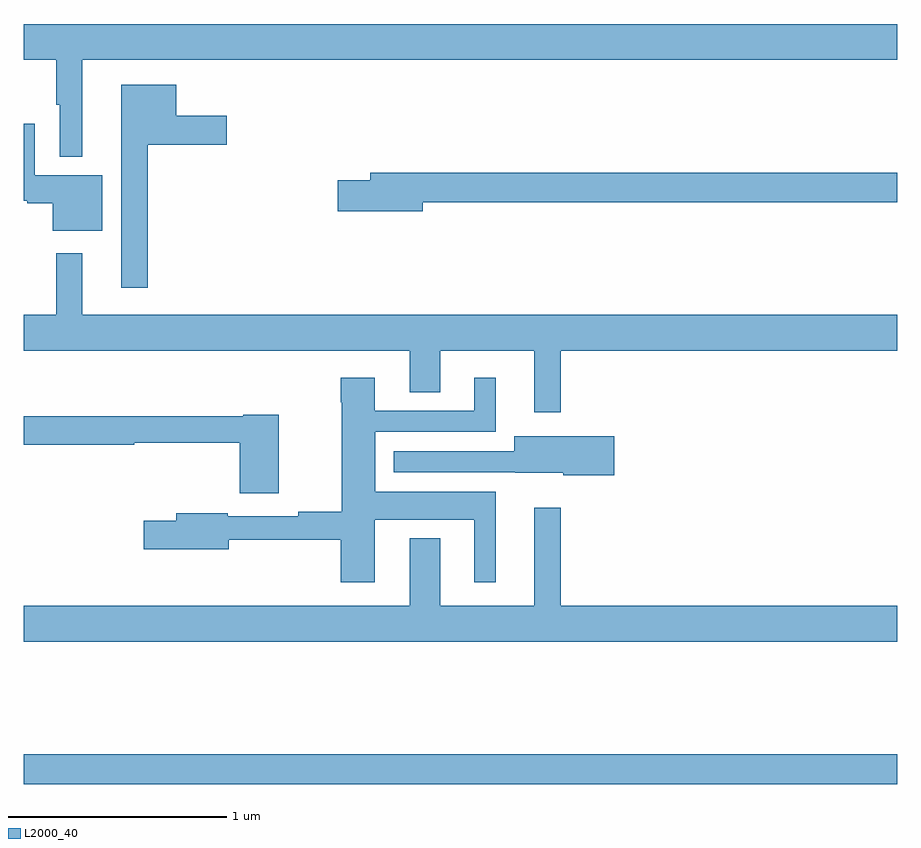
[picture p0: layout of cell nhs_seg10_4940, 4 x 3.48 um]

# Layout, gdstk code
import gdstk
lib = gdstk.Library(unit=1e-6, precision=1e-09)
def R(c, l, rs):  # rectangles x0, y0, x1, y1
    for r in rs: c.add(gdstk.rectangle(r[:2], r[2:], *l))
def P(c, l, *ps):  # polygons
    for p in ps: c.add(gdstk.Polygon(p, *l))
L2000_40 = (2000, 40)

nhs_seg10_4940 = lib.new_cell('nhs_seg10_4940')
R(nhs_seg10_4940, L2000_40, [(395,1320.976,399,1321.112)])
P(nhs_seg10_4940, L2000_40, [(395.269,1324.292),(399,1324.292),(399,1324.456),(395,1324.456),(395,1324.292),(395.148,1324.292),(395.148,1324.087),(395.165,1324.087),(395.165,1323.848),(395.269,1323.848)],
  [(395.569,1323.902),(395.929,1323.902),(395.929,1324.036),(395.698,1324.036),(395.698,1324.177),(395.447,1324.177),(395.447,1323.249),(395.569,1323.249)],
  [(395.359,1323.763),(395.05,1323.763),(395.05,1324),(395,1324),(395,1323.647),(395.016,1323.647),(395.016,1323.635),(395.132,1323.635),(395.132,1323.509),(395.359,1323.509)],
  [(396.826,1323.64),(399,1323.64),(399,1323.776),(396.587,1323.776),(396.587,1323.74),(396.438,1323.74),(396.438,1323.598),(396.826,1323.598)],
  [(397.459,1322.96),(399,1322.96),(399,1323.124),(395.269,1323.124),(395.269,1323.406),(395.148,1323.406),(395.148,1323.124),(395,1323.124),(395,1322.96),(396.767,1322.96),(396.767,1322.77),(396.907,1322.77),(396.907,1322.96),(397.337,1322.96),(397.337,1322.679),(397.459,1322.679)],
  [(396.607,1322.186),(397.064,1322.186),(397.064,1321.899),(397.162,1321.899),(397.162,1322.314),(396.61,1322.314),(396.61,1322.589),(397.162,1322.589),(397.162,1322.836),(397.064,1322.836),(397.064,1322.685),(396.607,1322.685),(396.607,1322.836),(396.452,1322.836),(396.452,1322.723),(396.457,1322.723),(396.457,1322.222),(396.256,1322.222),(396.256,1322.202),(395.934,1322.202),(395.934,1322.215),(395.699,1322.215),(395.699,1322.181),(395.55,1322.181),(395.55,1322.051),(395.938,1322.051),(395.938,1322.094),(396.452,1322.094),(396.452,1321.899),(396.607,1321.899)],
  [(396.168,1322.667),(396.006,1322.667),(396.006,1322.659),(395,1322.659),(395,1322.53),(395.506,1322.53),(395.506,1322.538),(395.99,1322.538),(395.99,1322.307),(396.168,1322.307)],
  [(397.705,1322.568),(397.247,1322.568),(397.247,1322.499),(396.695,1322.499),(396.695,1322.403),(397.251,1322.403),(397.251,1322.402),(397.47,1322.402),(397.47,1322.39),(397.705,1322.39)],
  [(399,1321.792),(397.459,1321.792),(397.459,1322.242),(397.337,1322.242),(397.337,1321.792),(396.907,1321.792),(396.907,1322.101),(396.767,1322.101),(396.767,1321.792),(395,1321.792),(395,1321.628),(399,1321.628)])

lib.write_gds('nhs_seg10_4940.gds')
